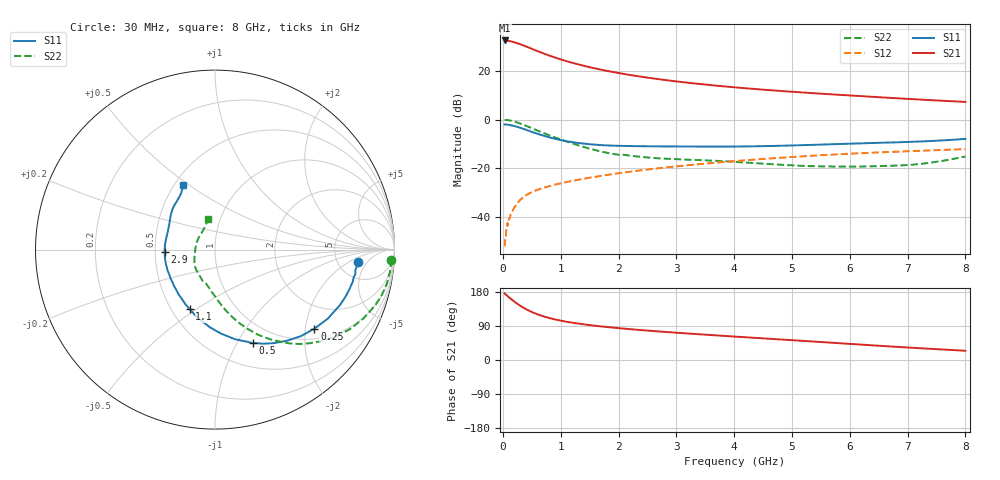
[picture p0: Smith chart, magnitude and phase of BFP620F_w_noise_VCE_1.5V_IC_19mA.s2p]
! Infineon Technologies  Discrete & RF Semiconductors
! BFP620F
! VCE =  1.5 V,  IC =  19 mA
! Common Emitter S-Parameters:  Dec 2014
# GHz  S  MA  R  50
!  f  S11  S21  S12  S22
! GHz  MAG  ANG  MAG  ANG  MAG  ANG  MAG  ANG
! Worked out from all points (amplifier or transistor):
!   95 points, 30 MHz to 8 GHz, reference 50 ohm
!   highest |S21| = 32.6 dB at 30 MHz (marker M1)
!   |S21| within 3 dB of that: start of sweep to 455.3 MHz
!   unconditionally stable (mu >= 1): 3.064 GHz to end of sweep
!   at 300 MHz: K = 0.27, MSG = 32.0 dB, |S12| = -33.0 dB
!   at 3.3 GHz: K = 1.01, MAG = 16.2 dB, |S12| = -18.5 dB
!   at 8 GHz: K = 1.07, MAG = 8.1 dB, |S12| = -12.1 dB
!   lowest NFmin = 0.81 dB at 450 MHz
!   S11 on the Smith chart (normalised r, x): 30 MHz: 7.77, -2.91; 250 MHz: 1.27, -2.24; 500 MHz: 0.77, -1.16; 1.1 GHz: 0.62, -0.47; 2.9 GHz: 0.56, -0.02; 8 GHz: 0.55, +0.47
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0.03  0.7975 -4.9  42.47 175.7  0.0025 79.2  0.9833 -3.3
0.08  0.7884 -13.1  42.08 168.8  0.0075 85.3  0.9774 -10.1
0.14  0.7655 -22.5  40.6 161.1  0.0117 78.5  0.9508 -17.8
0.2  0.7368 -31.5  38.86 153.9  0.0158 75.9  0.9118 -24.9
0.25  0.7076 -38.5  37.25 148.3  0.0191 72.4  0.8734 -30.4
0.3  0.6793 -45.2  35.52 143.2  0.0224 70.6  0.832 -35.5
0.35  0.6479 -51.5  33.67 138.5  0.0253 68.0  0.7888 -40.0
0.4  0.6171 -57.6  31.98 134.1  0.0278 66.3  0.7457 -44.3
0.5  0.5604 -68.1  28.62 126.7  0.0324 63.9  0.6671 -51.6
0.6  0.5102 -77.7  25.63 120.4  0.0361 61.7  0.5945 -57.8
0.7  0.4682 -86.1  23.07 115.2  0.0396 60.3  0.5325 -63.1
0.8  0.434 -93.7  20.82 110.9  0.0428 59.5  0.478 -67.6
0.9  0.404 -100.6  18.95 107.1  0.046 59.1  0.4314 -71.7
1.1  0.3601 -113.0  15.94 101.0  0.052 58.3  0.355 -78.8
1.4  0.3217 -128.9  12.8 94.1  0.061 58.0  0.2744 -88.1
2  0.2892 -153.3  9.094 84.1  0.079 57.2  0.1893 -107.4
2.7  0.2821 -172.7  6.779 75.4  0.1003 54.9  0.1601 -126.3
2.9  0.2812 -177.1  6.319 73.1  0.1062 54.3  0.1557 -130.5
4.1  0.2807 161.2  4.517 60.9  0.143 48.5  0.1332 -149.6
5.4  0.3042 145.2  3.481 48.4  0.1823 40.6  0.1105 -178.9
6.7  0.3385 130.6  2.804 35.8  0.2165 31.5  0.1124 143.9
8  0.4018 116.3  2.315 24.3  0.2474 22.7  0.1743 102.5
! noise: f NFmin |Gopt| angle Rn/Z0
0.45  0.81  0.06  3  0.21
0.9  0.87  0.06  11  0.18
1.5  0.92  0.06  12  0.14
1.8  0.94  0.05  14  0.14
1.9  0.95  0.03  31  0.16
2.4  0.98  0.02  68  0.15
3.5  1.06  0.03  160  0.14
5.5  1.2  0.14  227  0.1
6  1.23  0.14  248  0.14
